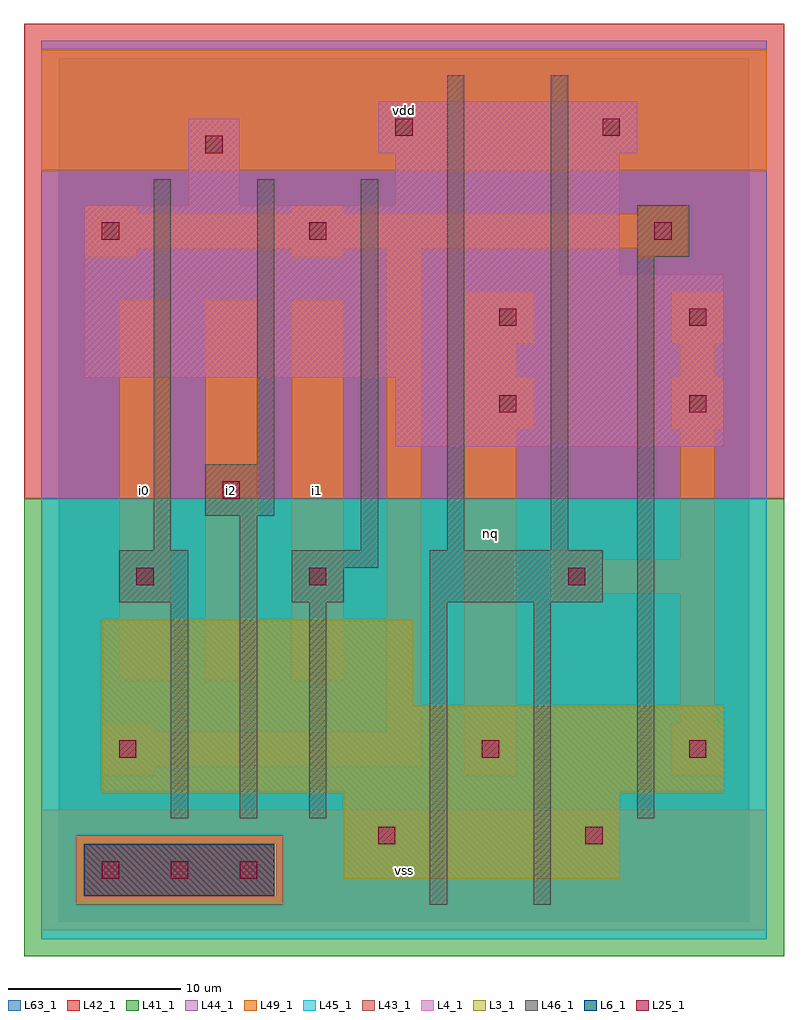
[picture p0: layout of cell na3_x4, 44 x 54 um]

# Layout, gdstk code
import gdstk
lib = gdstk.Library(unit=1e-6, precision=1e-09)
def R(c, l, rs):  # rectangles x0, y0, x1, y1
    for r in rs: c.add(gdstk.rectangle(r[:2], r[2:], *l))
def A(c, l, x, y, w, h, nx, ny, dx, dy):  # array of equal rectangles
    R(c, l, [(x+i*dx, y+j*dy, x+i*dx+w, y+j*dy+h) for i in range(nx) for j in range(ny)])
L3_1 = (3, 1)
L4_1 = (4, 1)
L6_1 = (6, 1)
L25_1 = (25, 1)
L41_1 = (41, 1)
L42_1 = (42, 1)
L43_1 = (43, 1)
L44_1 = (44, 1)
L45_1 = (45, 1)
L46_1 = (46, 1)
L49_1 = (49, 1)
L63_1 = (63, 1)

na3_x4 = lib.new_cell('na3_x4')
R(na3_x4, L3_1, [(16.5,2.5,32.5,7.5), (2.5,7.5,38.5,12.5), (2.5,12.5,20.5,17.5)])
R(na3_x4, L4_1, [(19.5,27.5,38.5,31.5), (1.5,31.5,38.5,37.5), (1.5,37.5,32.5,41.5), (7.5,41.5,10.5,46.5), (19.5,41.5,32.5,44.5), (18.5,44.5,33.5,47.5)])
R(na3_x4, L6_1, [(1.5,1.5,12.5,4.5)])
A(na3_x4, L25_1, 2.5, 2.5, 1, 1, 3, 1, 4, 0)
R(na3_x4, L25_1, [(18.5,4.5,19.5,5.5), (30.5,4.5,31.5,5.5), (3.5,9.5,4.5,10.5), (24.5,9.5,25.5,10.5), (36.5,9.5,37.5,10.5), (4.5,19.5,5.5,20.5), (14.5,19.5,15.5,20.5), (29.5,19.5,30.5,20.5), (9.5,24.5,10.5,25.5), (25.5,29.5,26.5,30.5), (36.5,29.5,37.5,30.5), (25.5,34.5,26.5,35.5), (36.5,34.5,37.5,35.5), (2.5,39.5,3.5,40.5), (14.5,39.5,15.5,40.5), (34.5,39.5,35.5,40.5), (8.5,44.5,9.5,45.5), (19.5,45.5,20.5,46.5), (31.5,45.5,32.5,46.5)])
R(na3_x4, L41_1, [(-2,-2,42,24.5)])
R(na3_x4, L42_1, [(-2,24.5,42,52)])
R(na3_x4, L43_1, [(1.5,1.5,12.5,4.5), (16.5,2.5,32.5,7.5), (2.5,7.5,38.5,12.5), (2.5,12.5,20.5,17.5), (19.5,27.5,38.5,31.5), (1.5,31.5,38.5,37.5), (1.5,37.5,32.5,41.5), (7.5,41.5,10.5,46.5), (19.5,41.5,32.5,44.5), (18.5,44.5,33.5,47.5)])
R(na3_x4, L44_1, [(1,1,13,5), (-1,24.5,41,51)])
R(na3_x4, L45_1, [(-1,-1,41,1), (-1,1,1,5), (13,1,41,5), (-1,5,41,24.5)])
R(na3_x4, L46_1, [(21.5,1,22.5,18.5), (27.5,1,28.5,18.5), (6.5,6,7.5,18.5), (10.5,6,11.5,23.5), (14.5,6,15.5,18.5), (33.5,6,34.5,38.5), (3.5,18.5,7.5,21.5), (13.5,18.5,16.5,20.5), (21.5,18.5,31.5,21.5), (13.5,20.5,18.5,21.5), (5.5,21.5,6.5,43), (17.5,21.5,18.5,43), (22.5,21.5,23.5,49), (28.5,21.5,29.5,49), (8.5,23.5,12.5,26.5), (11.5,26.5,12.5,43), (33.5,38.5,36.5,41.5)])
A(na3_x4, L49_1, 3.5, 14, 3, 22, 3, 1, 5, 0)
R(na3_x4, L49_1, [(-1,-0.5,41,6.5), (2.5,8.5,5.5,9), (23.5,8.5,26.5,28.5), (35.5,8.5,38.5,11.5), (2.5,9,21,11), (2.5,11,5.5,11.5), (19,11,21,39), (36,11.5,38,19), (28.5,18.5,31.5,19), (28.5,19,38,21), (28.5,21,31.5,21.5), (36,21,38,28.5), (23.5,28.5,27.5,31.5), (35.5,28.5,38.5,31.5), (23.5,31.5,26.5,33.5), (36,31.5,38,33.5), (23.5,33.5,27.5,36.5), (35.5,33.5,38.5,36.5), (1.5,38.5,4.5,39), (13.5,38.5,16.5,39), (33.5,38.5,36.5,39), (1.5,39,36.5,41), (1.5,41,4.5,41.5), (13.5,41,16.5,41.5), (33.5,41,36.5,41.5), (-1,43.5,41,50.5)])
R(na3_x4, L63_1, [(0,0,40,50)])
na3_x4.add(gdstk.Label('i0', (5,25), layer=49, texttype=1))
na3_x4.add(gdstk.Label('i0', (5,25), layer=49, texttype=1))
na3_x4.add(gdstk.Label('i1', (15,25), layer=49, texttype=1))
na3_x4.add(gdstk.Label('i1', (15,25), layer=49, texttype=1))
na3_x4.add(gdstk.Label('i2', (10,25), layer=49, texttype=1))
na3_x4.add(gdstk.Label('i2', (10,25), layer=49, texttype=1))
na3_x4.add(gdstk.Label('vss', (20,3), layer=49, texttype=1))
na3_x4.add(gdstk.Label('vss', (20,3), layer=49, texttype=1))
na3_x4.add(gdstk.Label('nq', (25,22.5), layer=49, texttype=1))
na3_x4.add(gdstk.Label('nq', (25,22.5), layer=49, texttype=1))
na3_x4.add(gdstk.Label('vdd', (20,47), layer=49, texttype=1))
na3_x4.add(gdstk.Label('vdd', (20,47), layer=49, texttype=1))

lib.write_gds('na3_x4.gds')
